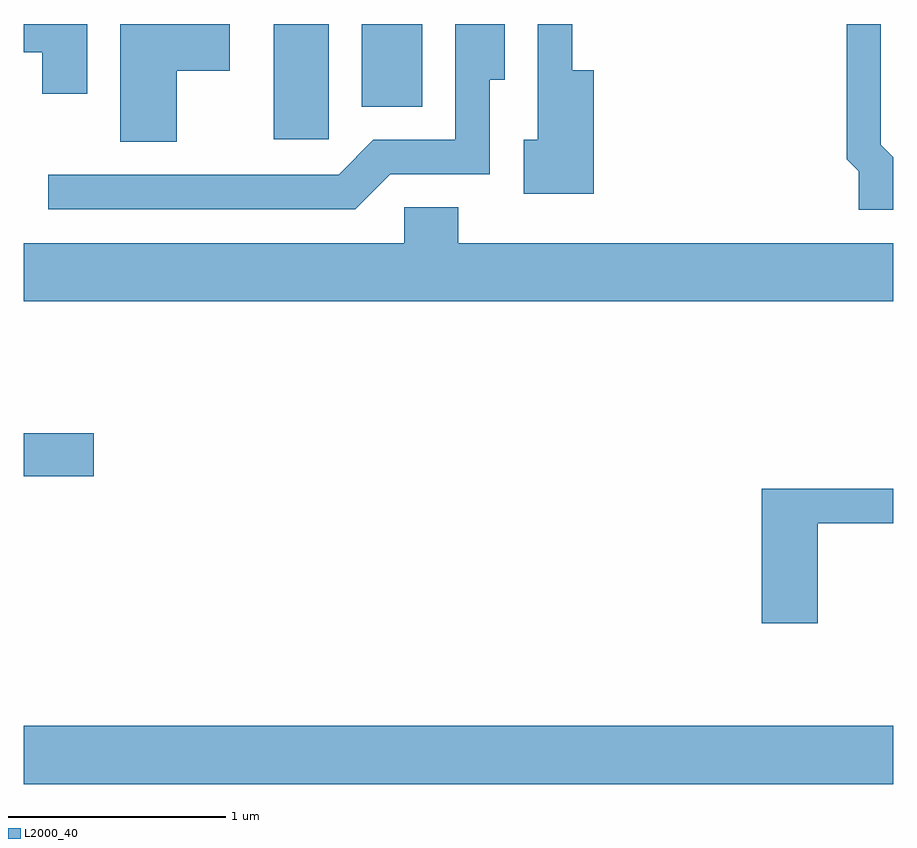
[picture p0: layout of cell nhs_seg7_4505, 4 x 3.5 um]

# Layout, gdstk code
import gdstk
lib = gdstk.Library(unit=1e-6, precision=1e-09)
def R(c, l, rs):  # rectangles x0, y0, x1, y1
    for r in rs: c.add(gdstk.rectangle(r[:2], r[2:], *l))
def P(c, l, *ps):  # polygons
    for p in ps: c.add(gdstk.Polygon(p, *l))
L2000_40 = (2000, 40)

nhs_seg7_4505 = lib.new_cell('nhs_seg7_4505')
R(nhs_seg7_4505, L2000_40, [(323.611,1718.756,327.611,1719.024), (323.611,1720.171,323.934,1720.369), (324.761,1721.721,325.014,1722.252), (325.166,1721.871,325.444,1722.252)])
P(nhs_seg7_4505, L2000_40, [(324.314,1722.036),(324.559,1722.036),(324.559,1722.252),(324.056,1722.252),(324.056,1721.711),(324.314,1721.711)],
  [(327.611,1721.64),(327.554,1721.697),(327.554,1722.252),(327.396,1722.252),(327.396,1721.629),(327.451,1721.574),(327.451,1721.398),(327.611,1721.398)],
  [(326.234,1722.039),(326.134,1722.039),(326.134,1722.252),(325.976,1722.252),(325.976,1721.719),(325.911,1721.719),(325.911,1721.471),(326.234,1721.471)],
  [(325.297,1721.561),(325.754,1721.561),(325.754,1721.996),(325.824,1721.996),(325.824,1722.252),(325.596,1722.252),(325.596,1721.719),(325.219,1721.719),(325.059,1721.559),(323.723,1721.559),(323.723,1721.401),(325.137,1721.401)],
  [(323.904,1722.252),(323.611,1722.252),(323.611,1722.121),(323.696,1722.121),(323.696,1721.931),(323.904,1721.931)],
  [(327.611,1721.244),(325.609,1721.244),(325.609,1721.409),(325.361,1721.409),(325.361,1721.244),(323.611,1721.244),(323.611,1720.976),(327.611,1720.976)],
  [(327.264,1719.956),(327.611,1719.956),(327.611,1720.114),(327.006,1720.114),(327.006,1719.496),(327.264,1719.496)])

lib.write_gds('nhs_seg7_4505.gds')
